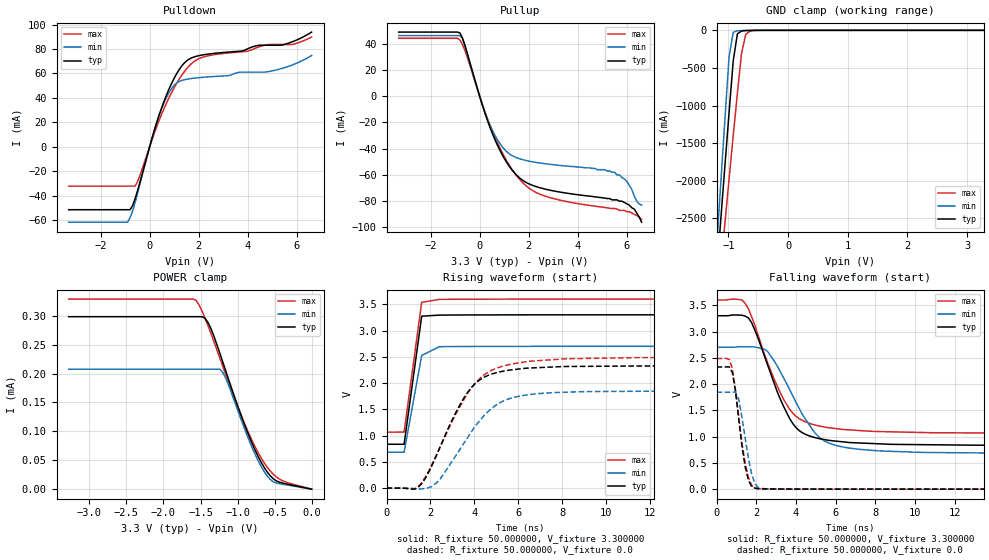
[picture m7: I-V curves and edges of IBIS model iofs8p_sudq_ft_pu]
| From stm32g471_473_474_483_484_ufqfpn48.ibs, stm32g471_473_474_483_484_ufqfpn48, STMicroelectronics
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|   Model iofs8p_sudq_ft_pu
[Model]  iofs8p_sudq_ft_pu
Model_type I/O
Polarity   Non-Inverting
Enable   Active-Low
Vinl =   0.990000V
Vinh =   2.310000V
Vmeas =  1.650000V
Cref =   30.000000pF
Rref =   100.000000M
Vref =   0.0V
C_comp   2.036400pF   1.984000pF   2.082300pF
[Temperature Range]   25.000000   -40.000000   0.125000k
[Pullup Reference]   3.300000V   2.700000V   3.600000V
[Pulldown Reference]   0.0V   0.0V   0.0V
[POWER Clamp Reference]   3.300000V   2.700000V   3.600000V
[GND Clamp Reference]   0.0V   0.0V   0.0V
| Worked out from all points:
|   slope of the pulldown table from 0 to 0.495 V, typ, clamps not added: 15.4 ohm
|   slope of the pullup table from 0 to 0.495 V, typ, clamps not added: 18.1 ohm
|   GND clamp passes 1 mA (typ) near -0.60 V on its own axis
|   rising waveform, R_fixture 50.000000, V_fixture 3.300000: 20-80 % time 486ps typ, 526ps min, 493ps max; typ from 0.836 V to 3.3 V
|   rising waveform, R_fixture 50.000000, V_fixture 0.0: 20-80 % time 1.66ns typ, 1.92ns min, 1.89ns max; typ from 0.001 V to 2.33 V
|   falling waveform, R_fixture 50.000000, V_fixture 3.300000: 20-80 % time 1.55ns typ, 1.8ns min, 1.64ns max; typ from 3.3 V to 0.836 V
|   falling waveform, R_fixture 50.000000, V_fixture 0.0: 20-80 % time 471ps typ, 495ps min, 523ps max; typ from 2.33 V to 0.001 V
[Pulldown]
|Voltage   I(typ)   I(min)   I(max)
-3.3V     -51.62mA   -61.84mA   -32.32mA
-900mV    -51.62mA   -61.84mA   -32.32mA
-800mV    -51.62mA   -58.24mA   -32.32mA
-500mV    -36.51mA   -38.7mA    -28.96mA
400mV     26.66mA    26.58mA    22.18mA
800mV     47.72mA    44.74mA    40.6mA
1.1V      59.79mA    52.18mA    51.93mA
1.5V      70.22mA    55.24mA    63.66mA
2.1V      74.97mA    56.75mA    72.88mA
4.9V      83.13mA    61.75mA    83.74mA
5.8V      85.85mA    66.87mA    83.74mA
6.6V      93.9mA     74.68mA    89.84mA
[Pullup]
|Voltage   I(typ)   I(min)   I(max)
-3.3V     48.85mA    46.19mA    44.12mA
-800mV    48.09mA    46.19mA    42.75mA
-600mV    38.73mA    38.61mA    34.79mA
200mV     -11.99mA   -11.47mA   -11.05mA
600mV     -32.08mA   -29.08mA   -30.29mA
1.3V      -55.74mA   -45.02mA   -55.23mA
2V        -66.7mA    -49.43mA   -69.91mA
3.2V      -72.82mA   -52.6mA    -78.89mA
5.5V      -79mA      -58mA      -85.6mA
6V        -82mA      -65mA      -88mA
6.3V      -86mA      -76mA      -90mA
6.6V      -96mA      -83mA      -94mA
[GND_clamp]
|Voltage   I(typ)   I(min)   I(max)
-3.3V     -9.812A    -9.822A    -9.937A
-1.2V     -3.251A    -2.905A    -3.763A
-1.13V    -2.527A    -2.046A    -3.165A
-1.06V    -1.808A    -1.191A    -2.57A
-990mV    -1.097A    -352.6mA   -1.979A
-920mV    -404.2mA   -25.08mA   -1.398A
-850mV    -46.53mA   -6.503mA   -832.3mA
-780mV    -8.496mA   -3.578mA   -302.4mA
-710mV    -3.383mA   -1.716mA   -53.8mA
-640mV    -1.589mA   -553.8uA   -11.72mA
-360mV    -2.023uA   0A         -84.67uA
3.28V     0A         0A         0A
[POWER_clamp]
|Voltage   I(typ)   I(min)   I(max)
-3.28V    298.2uA    207.4uA    328.7uA
-1.56V    298.2uA    207.4uA    326.5uA
-1.48V    298.2uA    207.4uA    308.2uA
-1.4V     288.5uA    207.4uA    283.1uA
-1.24V    235.4uA    207.4uA    226.9uA
-1.2V     220.1uA    202.1uA    212.7uA
-1.12V    189.4uA    179.6uA    184.4uA
-920mV    116.5uA    109.4uA    118.1uA
-680mV    46.31uA    39.06uA    53.8uA
-560mV    23.38uA    16.91uA    31.65uA
-480mV    14.66uA    10.76uA    21.51uA
0V        0A         0A         0A
[Ramp]
| variable   typ   min   max
dV/dt_r  1.39456/1.65326n   1.10706/1.91151n   1.49028/1.88842n
dV/dt_f  1.47836/1.54928n   1.20960/1.79362n   1.52028/1.64194n
R_load = 50.000000
[Rising Waveform]
R_fixture= 50.000000
V_fixture= 3.300000
V_fixture_min= 2.700000
V_fixture_max= 3.600000
|time   V(typ)   V(min)   V(max)
0s        836mV      684mV      1.066V
800.8ps   835.5mV    683.6mV    1.067V
1.602ns   3.274V     2.526V     3.538V
2.402ns   3.295V     2.694V     3.594V
79.28ns   3.3V       2.7V       3.6V
[Rising Waveform]
R_fixture= 50.000000
V_fixture= 0.0
V_fixture_min= 0.0
V_fixture_max= 0.0
|time   V(typ)   V(min)   V(max)
0s        933uV      607.3uV    1.507mV
1.281ns   -19.22mV   -8.887mV   -13.7mV
1.602ns   86.55mV    -14.19mV   102.4mV
2.402ns   749.2mV    148.9mV    742.7mV
3.363ns   1.602V     751.4mV    1.568V
4.164ns   2.037V     1.246V     2.055V
5.125ns   2.211V     1.618V     2.3V
6.567ns   2.288V     1.785V     2.417V
11.53ns   2.326V     1.845V     2.486V
79.76ns   2.325V     1.846V     2.485V
[Falling Waveform]
R_fixture= 50.000000
V_fixture= 3.300000
V_fixture_min= 2.700000
V_fixture_max= 3.600000
|time   V(typ)   V(min)   V(max)
0s        3.3V       2.7V       3.6V
1.441ns   3.293V     2.709V     3.536V
1.762ns   3.172V     2.709V     3.285V
2.563ns   2.374V     2.624V     2.414V
3.363ns   1.584V     2.127V     1.717V
4.004ns   1.172V     1.652V     1.384V
5.125ns   965.8mV    1.005V     1.206V
6.406ns   899.1mV    799.9mV    1.135V
14.73ns   836.8mV    684.9mV    1.068V
79.76ns   836mV      684mV      1.066V
[Falling Waveform]
R_fixture= 50.000000
V_fixture= 0.0
V_fixture_min= 0.0
V_fixture_max= 0.0
|time   V(typ)   V(min)   V(max)
0s        2.325V     1.846V     2.485V
640.6ps   2.327V     1.845V     2.469V
800.8ps   2.217V     1.847V     2.293V
961ps     1.847V     1.846V     1.873V
1.121ns   1.329V     1.712V     1.364V
1.441ns   429mV      976.1mV    495.9mV
1.602ns   174.1mV    594mV      233.6mV
1.922ns   21.85mV    112.4mV    21.06mV
2.082ns   10.93mV    36.45mV    9.813mV
79.76ns   933uV      607.3uV    1.507mV
